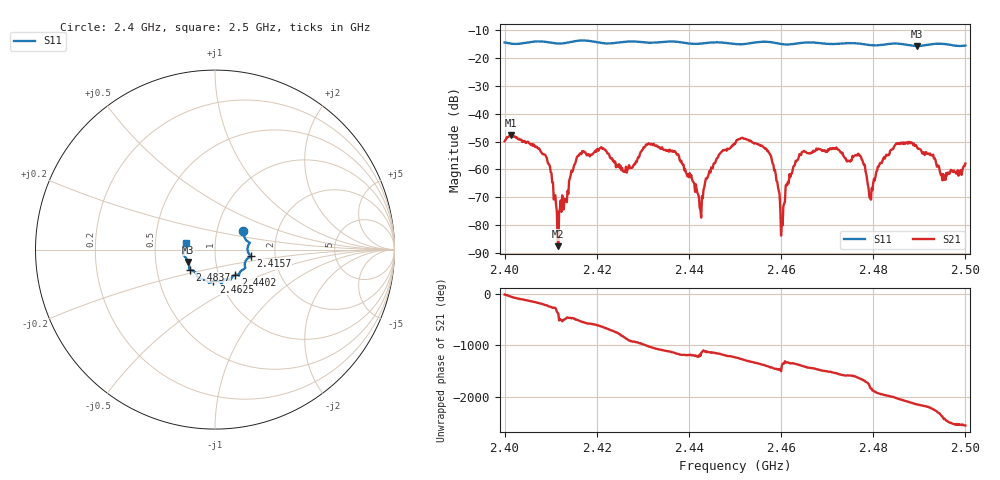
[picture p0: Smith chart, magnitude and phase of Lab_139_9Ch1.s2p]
# Hz S RI R 50
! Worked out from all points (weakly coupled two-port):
!   601 points, 2.4 GHz to 2.5 GHz, reference 50 ohm
!   highest |S21| = -47.82 dB at 2.4013 GHz (marker M1); lowest = -87.6 dB at 2.4117 GHz (marker M2)
!   lowest |S11| = -15.7 dB at 2.4895 GHz (marker M3), VSWR 1.39, Z = 36.8 - j5.17 ohm
!   |S11| at or under -10 dB: start of sweep to end of sweep
!   S12 and S22 are empty: the file has one direction only
!   S11 on the Smith chart (normalised r, x): 2.4 GHz: 1.33, +0.29; 2.4157 GHz: 1.49, -0.11; 2.4402 GHz: 1.20, -0.35; 2.4625 GHz: 0.92, -0.34; 2.4837 GHz: 0.74, -0.17; 2.5 GHz: 0.72, +0.05
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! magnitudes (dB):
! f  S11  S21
! 2.4 GHz  -14.5  -49.9
! 2.4013 GHz  -14.9  -47.8
! 2.4087 GHz  -14.2  -54.7
! 2.4117 GHz  -14.8  -87.6
! 2.4157 GHz  -13.9  -55.7
! 2.4167 GHz  -13.7  -54.5
! 2.4262 GHz  -14.2  -61.0
! 2.4333 GHz  -14.4  -51.8
! 2.4402 GHz  -14.8  -61.4
! 2.4425 GHz  -14.9  -74.5
! 2.45 GHz  -15.0  -50.9
! 2.4572 GHz  -14.2  -53.4
! 2.4603 GHz  -15.1  -80.1
! 2.4625 GHz  -15.0  -60.4
! 2.4667 GHz  -14.4  -54.2
! 2.4768 GHz  -14.8  -54.4
! 2.4793 GHz  -15.4  -70.3
! 2.4833 GHz  -15.0  -54.9
! 2.4837 GHz  -14.9  -53.3
! 2.4895 GHz  -15.7  -52.1
! 2.4952 GHz  -15.0  -61.7
! 2.5 GHz  -15.6  -57.9
